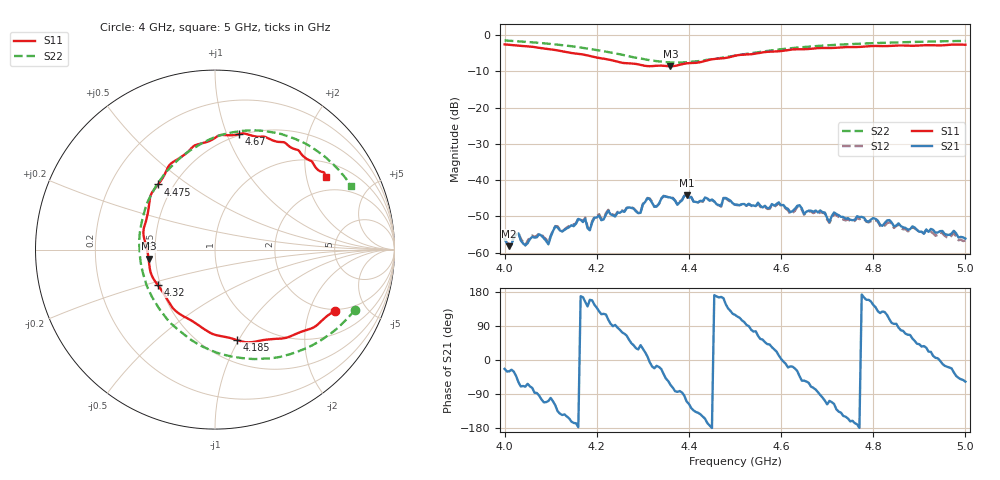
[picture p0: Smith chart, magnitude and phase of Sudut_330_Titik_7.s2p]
# Hz S RI R 50
! CMT, C1220, 16058040, 17.2.0/1
! Date: 15/08/2018 12:06:07
! Data: Format (Calibration Info)
! Freq  S11: Re/Im (F2)  S21: Re/Im (F2)  S12: Re/Im (F2)  S22: Re/Im (F2)
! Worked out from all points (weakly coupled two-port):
!   201 points, 4 GHz to 5 GHz, reference 50 ohm
!   highest |S21| = -44.22 dB at 4.395 GHz (marker M1); lowest = -58.2 dB at 4.01 GHz (marker M2)
!   lowest |S11| = -8.5 dB at 4.36 GHz (marker M3), VSWR 2.19, Z = 22.9 - j2.67 ohm
!   |S11| at or under -10 dB: nowhere
!   |S22| runs from -7.5 to -1.4 dB; largest |S21 - S12| = 0.00024
!   S11 on the Smith chart (normalised r, x): 4 GHz: 1.94, -3.00; 4.185 GHz: 0.71, -0.98; 4.32 GHz: 0.48, -0.22; 4.475 GHz: 0.41, +0.39; 4.67 GHz: 0.49, +1.10; 5 GHz: 1.46, +2.61
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4e9  0.6668 -0.3402  0.00141 -0.000614  0.00147 -0.000598  0.7778 -0.3368
4.01e9  0.6495 -0.3526  0.00106 -0.000612  0.00116 -0.000612  0.7595 -0.3598
4.03e9  0.6056 -0.3863  0.000966 -0.00157  0.0011 -0.00151  0.7199 -0.4011
4.045e9  0.5716 -0.418  0.000425 -0.00119  0.000457 -0.00117  0.6872 -0.4333
4.075e9  0.4961 -0.4524  -0.000133 -0.00179  -0.000114 -0.00184  0.6116 -0.4904
4.095e9  0.4314 -0.4784  -0.000406 -0.00124  -0.000477 -0.00129  0.5562 -0.5257
4.11e9  0.3837 -0.494  -0.00112 -0.00199  -0.00112 -0.00203  0.5075 -0.5496
4.17e9  0.1696 -0.516  -0.00255 0.000648  -0.00261 0.00062  0.2845 -0.6068
4.185e9  0.1204 -0.5036  -0.0019 0.000732  -0.00196 0.000676  0.2213 -0.61
4.225e9  -0.0289 -0.4624  -0.00106 0.00362  -0.00113 0.00373  0.0446 -0.5847
4.29e9  -0.246 -0.3099  0.0031 0.00164  0.00309 0.00163  -0.2282 -0.4269
4.32e9  -0.3202 -0.1952  0.00467 -0.00141  0.00479 -0.00148  -0.324 -0.3082
4.335e9  -0.3523 -0.144  0.00448 -0.00149  0.00445 -0.0015  -0.3621 -0.2411
4.36e9  -0.3704 -0.0502  0.00237 -0.00525  0.00242 -0.00533  -0.4046 -0.1183
4.395e9  -0.3992 0.0917  -0.00204 -0.0058  -0.00226 -0.00585  -0.422 0.0533
4.47e9  -0.3293 0.347  -0.0043 0.00104  -0.00418 0.00104  -0.3162 0.3715
4.475e9  -0.3169 0.3628  -0.00542 0.00167  -0.00538 0.00174  -0.3049 0.3877
4.5e9  -0.2672 0.4471  -0.00225 0.00403  -0.00227 0.00397  -0.2424 0.464
4.67e9  0.1315 0.6428  0.00105 -0.00352  0.000926 -0.00339  0.2349 0.6637
4.705e9  0.1974 0.6371  -0.000817 -0.00253  -0.000841 -0.00242  0.3224 0.6527
4.835e9  0.4338 0.5634  -0.000851 0.00268  -0.000854 0.00249  0.5695 0.549
5e9  0.6181 0.4063  0.000849 -0.00131  0.000845 -0.0012  0.757 0.3544
